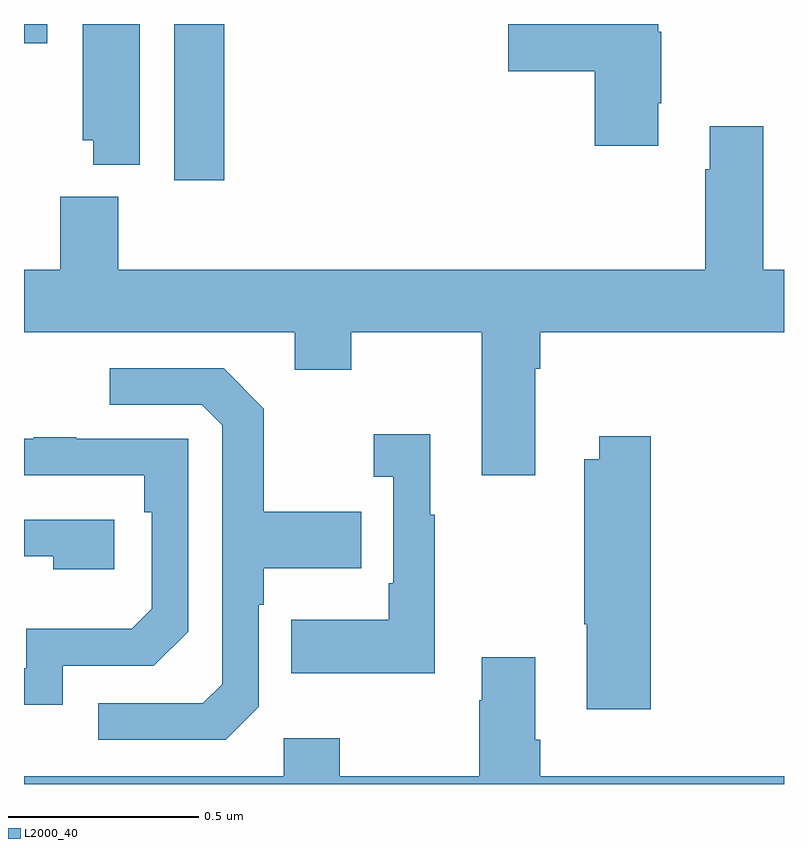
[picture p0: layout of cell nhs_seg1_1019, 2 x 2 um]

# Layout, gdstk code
import gdstk
lib = gdstk.Library(unit=1e-6, precision=1e-09)
def R(c, l, rs):  # rectangles x0, y0, x1, y1
    for r in rs: c.add(gdstk.rectangle(r[:2], r[2:], *l))
def P(c, l, *ps):  # polygons
    for p in ps: c.add(gdstk.Polygon(p, *l))
L2000_40 = (2000, 40)

nhs_seg1_1019 = lib.new_cell('nhs_seg1_1019')
R(nhs_seg1_1019, L2000_40, [(123.395,562.788,123.527,563.199), (123,563.148,123.061,563.199)])
P(nhs_seg1_1019, L2000_40, [(124.669,562.99),(124.677,562.99),(124.677,563.179),(124.669,563.179),(124.669,563.199),(124.274,563.199),(124.274,563.075),(124.502,563.075),(124.502,562.878),(124.669,562.878)],
  [(123.304,563.199),(123.155,563.199),(123.155,562.893),(123.182,562.893),(123.182,562.829),(123.304,562.829)],
  [(124.345,562.292),(124.358,562.292),(124.358,562.388),(125,562.388),(125,562.552),(124.945,562.552),(124.945,562.93),(124.805,562.93),(124.805,562.817),(124.793,562.817),(124.793,562.552),(123.248,562.552),(123.248,562.744),(123.095,562.744),(123.095,562.552),(123,562.552),(123,562.388),(123.713,562.388),(123.713,562.289),(123.861,562.289),(123.861,562.388),(124.205,562.388),(124.205,562.011),(124.345,562.011)],
  [(123.618,561.402),(123.618,561.671),(123.631,561.671),(123.631,561.767),(123.887,561.767),(123.887,561.915),(123.631,561.915),(123.631,562.187),(123.525,562.293),(123.225,562.293),(123.225,562.197),(123.468,562.197),(123.522,562.143),(123.522,561.462),(123.471,561.411),(123.195,561.411),(123.195,561.315),(123.531,561.315)],
  [(124.081,561.907),(124.069,561.907),(124.069,562.12),(123.921,562.12),(123.921,562.007),(123.972,562.007),(123.972,561.727),(123.96,561.727),(123.96,561.631),(123.703,561.631),(123.703,561.491),(124.081,561.491)],
  [(124.649,562.114),(124.514,562.114),(124.514,562.054),(124.474,562.054),(124.474,561.619),(124.481,561.619),(124.481,561.396),(124.649,561.396)],
  [(123.102,561.51),(123.342,561.51),(123.432,561.6),(123.432,562.107),(123.137,562.107),(123.137,562.112),(123.025,562.112),(123.025,562.107),(123,562.107),(123,562.011),(123.316,562.011),(123.316,561.914),(123.336,561.914),(123.336,561.66),(123.283,561.607),(123.006,561.607),(123.006,561.504),(123,561.504),(123,561.408),(123.102,561.408)],
  [(123.238,561.894),(123,561.894),(123,561.798),(123.077,561.798),(123.077,561.764),(123.238,561.764)],
  [(125,561.22),(124.358,561.22),(124.358,561.316),(124.345,561.316),(124.345,561.532),(124.205,561.532),(124.205,561.419),(124.198,561.419),(124.198,561.22),(123.831,561.22),(123.831,561.319),(123.684,561.319),(123.684,561.22),(123,561.22),(123,561.199),(125,561.199)])

lib.write_gds('nhs_seg1_1019.gds')
